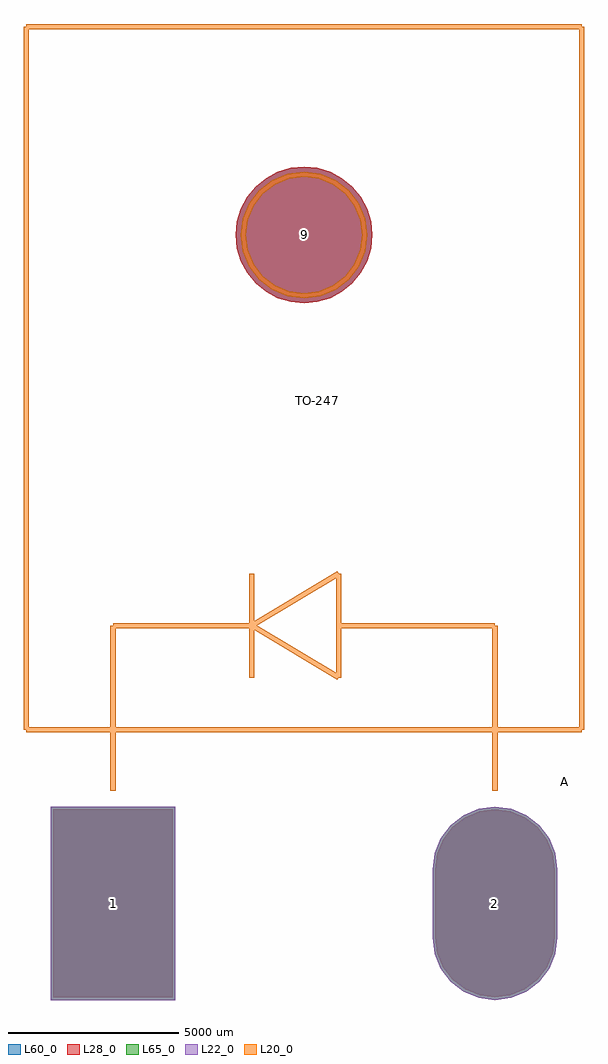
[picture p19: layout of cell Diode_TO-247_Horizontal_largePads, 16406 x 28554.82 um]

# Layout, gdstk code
import gdstk
lib = gdstk.Library(unit=1e-6, precision=1e-09)
def R(c, l, rs):  # rectangles x0, y0, x1, y1
    for r in rs: c.add(gdstk.rectangle(r[:2], r[2:], *l))
def P(c, l, *ps):  # polygons
    for p in ps: c.add(gdstk.Polygon(p, *l))
L20_0 = (20, 0)
L22_0 = (22, 0)
L28_0 = (28, 0)
L60_0 = (60, 0)
L65_0 = (65, 0)

diode_to_247_horizontal_ = lib.new_cell('Diode_TO-247_Horizontal_largePads')
R(diode_to_247_horizontal_, L22_0, [(-1827.6,-2825.82,1822.52,2825.82)])
P(diode_to_247_horizontal_, L22_0, [(11173.46,-2825.82),(11645.82,-2763.633),(12085.99,-2581.308),(12463.972,-2291.272),(12754.008,-1913.29),(12936.333,-1473.12),(12998.52,-1000.76),(12998.52,1000.76),(12936.333,1473.12),(12754.008,1913.29),(12463.972,2291.272),(12085.99,2581.308),(11645.82,2763.633),(11173.46,2825.82),(10701.1,2763.633),(10260.93,2581.308),(9882.948,2291.272),(9592.912,1913.29),(9410.587,1473.12),(9348.4,1000.76),(9348.4,-1000.76),(9410.587,-1473.12),(9592.912,-1913.29),(9882.948,-2291.272),(10260.93,-2581.308),(10701.1,-2763.633)])
R(diode_to_247_horizontal_, L28_0, [(-1752.6,-2750.82,1747.52,2750.82)])
P(diode_to_247_horizontal_, L28_0, [(7585.71,19558),(7547.276,19948.229),(7433.45,20323.463),(7248.607,20669.279),(6999.85,20972.39),(6696.739,21221.147),(6350.923,21405.99),(5975.689,21519.816),(5585.46,21558.25),(5195.231,21519.816),(4819.997,21405.99),(4474.181,21221.147),(4171.07,20972.39),(3922.313,20669.279),(3737.47,20323.463),(3623.644,19948.229),(3585.21,19558),(3623.644,19167.771),(3737.47,18792.537),(3922.313,18446.721),(4171.07,18143.61),(4474.181,17894.853),(4819.997,17710.01),(5195.231,17596.184),(5585.46,17557.75),(5975.689,17596.184),(6350.923,17710.01),(6696.739,17894.853),(6999.85,18143.61),(7248.607,18446.721),(7433.45,18792.537),(7547.276,19167.771)],
  [(11173.46,-2750.82),(11626.409,-2691.188),(12048.49,-2516.356),(12410.939,-2238.239),(12689.056,-1875.79),(12863.888,-1453.709),(12923.52,-1000.76),(12923.52,1000.76),(12863.888,1453.709),(12689.056,1875.79),(12410.939,2238.239),(12048.49,2516.356),(11626.409,2691.188),(11173.46,2750.82),(10720.511,2691.188),(10298.43,2516.356),(9935.981,2238.239),(9657.864,1875.79),(9483.032,1453.709),(9423.4,1000.76),(9423.4,-1000.76),(9483.032,-1453.709),(9657.864,-1875.79),(9935.981,-2238.239),(10298.43,-2516.356),(10720.511,-2691.188)])
R(diode_to_247_horizontal_, L60_0, [(-1752.6,-2750.82,1747.52,2750.82)])
P(diode_to_247_horizontal_, L60_0, [(7585.71,19558),(7547.276,19948.229),(7433.45,20323.463),(7248.607,20669.279),(6999.85,20972.39),(6696.739,21221.147),(6350.923,21405.99),(5975.689,21519.816),(5585.46,21558.25),(5195.231,21519.816),(4819.997,21405.99),(4474.181,21221.147),(4171.07,20972.39),(3922.313,20669.279),(3737.47,20323.463),(3623.644,19948.229),(3585.21,19558),(3623.644,19167.771),(3737.47,18792.537),(3922.313,18446.721),(4171.07,18143.61),(4474.181,17894.853),(4819.997,17710.01),(5195.231,17596.184),(5585.46,17557.75),(5975.689,17596.184),(6350.923,17710.01),(6696.739,17894.853),(6999.85,18143.61),(7248.607,18446.721),(7433.45,18792.537),(7547.276,19167.771)],
  [(11173.46,-2750.82),(11626.409,-2691.188),(12048.49,-2516.356),(12410.939,-2238.239),(12689.056,-1875.79),(12863.888,-1453.709),(12923.52,-1000.76),(12923.52,1000.76),(12863.888,1453.709),(12689.056,1875.79),(12410.939,2238.239),(12048.49,2516.356),(11626.409,2691.188),(11173.46,2750.82),(10720.511,2691.188),(10298.43,2516.356),(9935.981,2238.239),(9657.864,1875.79),(9483.032,1453.709),(9423.4,1000.76),(9423.4,-1000.76),(9483.032,-1453.709),(9657.864,-1875.79),(9935.981,-2238.239),(10298.43,-2516.356),(10720.511,-2691.188)])
R(diode_to_247_horizontal_, L65_0, [(-1827.6,-2825.82,1822.52,2825.82)])
P(diode_to_247_horizontal_, L65_0, [(11173.46,-2825.82),(11645.82,-2763.633),(12085.99,-2581.308),(12463.972,-2291.272),(12754.008,-1913.29),(12936.333,-1473.12),(12998.52,-1000.76),(12998.52,1000.76),(12936.333,1473.12),(12754.008,1913.29),(12463.972,2291.272),(12085.99,2581.308),(11645.82,2763.633),(11173.46,2825.82),(10701.1,2763.633),(10260.93,2581.308),(9882.948,2291.272),(9592.912,1913.29),(9410.587,1473.12),(9348.4,1000.76),(9348.4,-1000.76),(9410.587,-1473.12),(9592.912,-1913.29),(9882.948,-2291.272),(10260.93,-2581.308),(10701.1,-2763.633)])
diode_to_247_horizontal_.add(gdstk.FlexPath([(13713.46,5080),(-2542.54,5080)], 149.998, ends="flush", simple_path=True, layer=20, datatype=0))  # L20_0
diode_to_247_horizontal_.add(gdstk.FlexPath([(-2542.54,5080),(-2542.54,25654)], 149.998, ends="flush", simple_path=True, layer=20, datatype=0))  # L20_0
diode_to_247_horizontal_.add(gdstk.FlexPath([(-2542.54,25654),(13713.46,25654)], 149.998, ends="flush", simple_path=True, layer=20, datatype=0))  # L20_0
diode_to_247_horizontal_.add(gdstk.FlexPath([(13713.46,25654),(13713.46,5080)], 149.998, ends="flush", simple_path=True, layer=20, datatype=0))  # L20_0
diode_to_247_horizontal_.add(gdstk.FlexPath([(7363.46,19558),(7302.876,20018.18),(7125.253,20447),(6842.696,20815.236),(6474.46,21097.793),(6045.64,21275.416),(5585.46,21336),(5125.28,21275.416),(4696.46,21097.793),(4328.224,20815.236),(4045.667,20447),(3868.044,20018.18),(3807.46,19558),(3868.044,19097.82),(4045.667,18669),(4328.224,18300.764),(4696.46,18018.207),(5125.28,17840.584),(5585.46,17780),(6045.64,17840.584),(6474.46,18018.207),(6842.696,18300.764),(7125.253,18669),(7302.876,19097.82),(7363.46,19558)], 149.998, ends="flush", simple_path=True, layer=20, datatype=0))  # L20_0
diode_to_247_horizontal_.add(gdstk.FlexPath([(11173.46,3302),(11173.46,5080)], 149.998, ends="flush", simple_path=True, layer=20, datatype=0))  # L20_0
diode_to_247_horizontal_.add(gdstk.FlexPath([(-2.54,3302),(-2.54,5080)], 149.998, ends="flush", simple_path=True, layer=20, datatype=0))  # L20_0
diode_to_247_horizontal_.add(gdstk.FlexPath([(4061.46,9652),(4061.46,6604)], 149.998, ends="flush", simple_path=True, layer=20, datatype=0))  # L20_0
diode_to_247_horizontal_.add(gdstk.FlexPath([(6601.46,6604),(4061.46,8128)], 149.998, ends="flush", simple_path=True, layer=20, datatype=0))  # L20_0
diode_to_247_horizontal_.add(gdstk.FlexPath([(6601.46,9652),(6601.46,6604)], 149.998, ends="flush", simple_path=True, layer=20, datatype=0))  # L20_0
diode_to_247_horizontal_.add(gdstk.FlexPath([(4061.46,8128),(6601.46,9652)], 149.998, ends="flush", simple_path=True, layer=20, datatype=0))  # L20_0
diode_to_247_horizontal_.add(gdstk.FlexPath([(11173.46,8128),(11173.46,5080)], 149.998, ends="flush", simple_path=True, layer=20, datatype=0))  # L20_0
diode_to_247_horizontal_.add(gdstk.FlexPath([(6601.46,8128),(11173.46,8128)], 149.998, ends="flush", simple_path=True, layer=20, datatype=0))  # L20_0
diode_to_247_horizontal_.add(gdstk.FlexPath([(-2.54,8128),(-2.54,5080)], 149.998, ends="flush", simple_path=True, layer=20, datatype=0))  # L20_0
diode_to_247_horizontal_.add(gdstk.FlexPath([(4061.46,8128),(-2.54,8128)], 149.998, ends="flush", simple_path=True, layer=20, datatype=0))  # L20_0
diode_to_247_horizontal_.add(gdstk.Label('9', (5585.46,19558), layer=60, texttype=0))
diode_to_247_horizontal_.add(gdstk.Label('2', (11173.46,0), layer=28, texttype=0))
diode_to_247_horizontal_.add(gdstk.Label('1', (-2.54,0), layer=28, texttype=0))
diode_to_247_horizontal_.add(gdstk.Label('TO-247', (5991.86,14706.6), layer=9, texttype=0))
diode_to_247_horizontal_.add(gdstk.Label('A', (13205.46,3556), layer=9, texttype=0))
diode_to_247_horizontal_.add(gdstk.Label('type', (6855.46,-5334), layer=9, texttype=0))
diode_to_247_horizontal_.add(gdstk.Label('devicename', (4569.46,27432), layer=9, texttype=0))

lib.write_gds('Diode_TO-247_Horizontal_largePads.gds')
